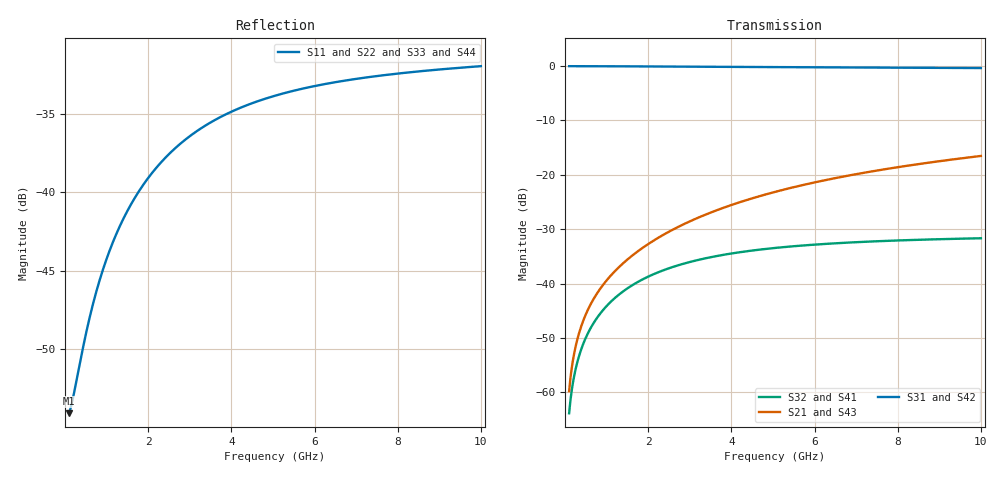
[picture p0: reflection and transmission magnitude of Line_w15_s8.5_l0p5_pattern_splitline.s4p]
! TOUCHSTONE file generated by CST MICROWAVE STUDIO
! Date and time: Thu Oct 16 10:40:51 2014
! Project name: Untitled_1.cst
# GHZ S MA R 50
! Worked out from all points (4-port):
!   1001 points, 100 MHz to 10 GHz, reference 50 ohm
!   strongest paths, dB at 100 MHz, 2.575 GHz, 5.05 GHz, 7.525 GHz, 10 GHz:
!     S31: 0.0, -0.1, -0.2, -0.3, -0.4
!     S42: 0.0, -0.1, -0.2, -0.3, -0.4
!     S21: -59.8, -30.2, -23.1, -19.2, -16.5
!     S43: -59.8, -30.2, -23.1, -19.2, -16.5
!     S32: -63.9, -37.0, -33.4, -32.2, -31.7
!     S41: -63.9, -37.0, -33.4, -32.2, -31.7
!   lowest |S11| = -54.1 dB at 100 MHz (marker M1), VSWR 1.00, Z = 50.2 - j0.0616 ohm
!   |S11| at or under -10 dB: start of sweep to end of sweep
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0.1  0.001976 -18.1  0.001026 90.6  0.9981 -0.2  0.0006416 -91.5
     0.001026 90.6  0.001977 -18.3  0.0006416 -91.5  0.9981 -0.2
     0.9981 -0.2  0.0006416 -91.5  0.001976 -18.1  0.001026 90.6
     0.0006416 -91.5  0.9981 -0.2  0.001026 90.6  0.001977 -18.3
0.3376  0.002761 -49.9  0.003487 92.1  0.9979 -0.8  0.002151 -94.7
        0.003487 92.1  0.002774 -50.2  0.002151 -94.7  0.9979 -0.8
        0.9979 -0.8  0.002151 -94.7  0.002761 -49.9  0.003487 92.1
        0.002151 -94.7  0.9979 -0.8  0.003487 92.1  0.002774 -50.2
0.7138  0.004618 -73.5  0.007496 94.0  0.9972 -1.6  0.004492 -99.6
        0.007496 94.0  0.004654 -73.6  0.004492 -99.6  0.9972 -1.6
        0.9972 -1.6  0.004492 -99.6  0.004617 -73.5  0.007496 93.9
        0.004492 -99.6  0.9972 -1.6  0.007496 93.9  0.004652 -73.7
1.3276  0.007851 -91.0  0.01452 96.1  0.9953 -3.0  0.008089 -107.3
        0.01452 96.1  0.00792 -91.1  0.008089 -107.3  0.9953 -3.0
        0.9953 -3.0  0.008089 -107.3  0.00785 -91.1  0.01452 96.1
        0.008089 -107.3  0.9953 -3.0  0.01452 96.1  0.007919 -91.1
2.2087  0.01204 -105.5  0.02591 97.3  0.9915 -4.8  0.01256 -117.4
        0.02591 97.3  0.01215 -105.4  0.01256 -117.4  0.9915 -4.8
        0.9915 -4.8  0.01256 -117.4  0.01205 -105.6  0.02591 97.3
        0.01256 -117.4  0.9915 -4.8  0.02591 97.3  0.01216 -105.6
5.2282  0.02066 -131.2  0.07257 92.0  0.9775 -10.7  0.02159 -141.5
        0.07257 92.0  0.02087 -130.9  0.0216 -141.5  0.9775 -10.7
        0.9775 -10.7  0.0216 -141.5  0.02074 -131.5  0.07255 92.0
        0.02159 -141.5  0.9775 -10.7  0.07255 92.0  0.02097 -131.3
10  0.02528 -145.6  0.1491 79.7  0.9591 -19.4  0.02609 -160.0
    0.1491 79.7  0.02562 -145.0  0.02611 -160.0  0.9591 -19.4
    0.9591 -19.4  0.02611 -160.0  0.02562 -146.4  0.1491 79.7
    0.02609 -160.0  0.9591 -19.4  0.1491 79.7  0.02602 -146.0
